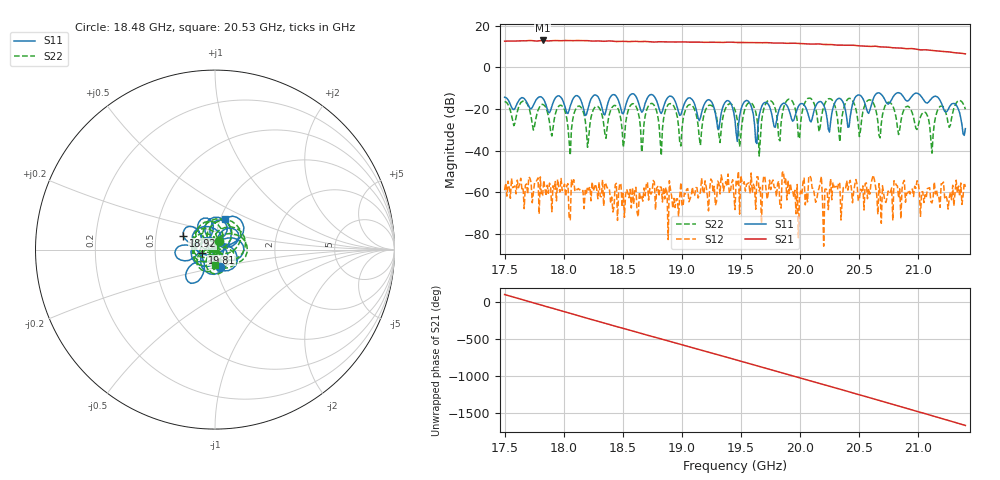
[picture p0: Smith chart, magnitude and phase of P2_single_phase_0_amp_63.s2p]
!Created with skrf (http://scikit-rf.org).
# GHz S RI R 50.0
!freq ReS11 ImS11 ReS21 ImS21 ReS12 ImS12 ReS22 ImS22
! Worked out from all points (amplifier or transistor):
!   401 points, 17.5 GHz to 21.4 GHz, reference 50 ohm
!   highest |S21| = 12.9 dB at 17.82 GHz (marker M1)
!   |S21| within 3 dB of that: start of sweep to 20.67 GHz
!   unconditionally stable (mu >= 1): start of sweep to end of sweep
!   at 18.14 GHz: K = 91.43, MAG = 13.0 dB, |S12| = -58.5 dB
!   at 19.45 GHz: K = 319.74, MAG = 12.1 dB, |S12| = -68.2 dB
!   at 21.4 GHz: K = 172.20, MAG = 6.6 dB, |S12| = -57.3 dB
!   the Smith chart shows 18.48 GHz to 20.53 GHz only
!   S11 on the Smith chart (normalised r, x): 18.48 GHz: 1.03, -0.20; 18.92 GHz: 0.69, +0.11; 19.81 GHz: 0.87, -0.03; 20.53 GHz: 1.06, +0.37
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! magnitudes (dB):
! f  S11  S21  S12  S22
! 17.5 GHz  -14.4  12.6  -59.0  -16.4
! 17.82 GHz  -14.7  12.9  -61.4  -17.7
! 18.06 GHz  -18.5  12.8  -73.1  -42.2
! 18.15 GHz  -16.9  12.8  -59.2  -19.7
! 18.48 GHz  -19.9  12.5  -56.2  -25.1
! 18.59 GHz  -12.7  12.5  -65.7  -17.5
! 18.67 GHz  -21.0  12.4  -64.2  -35.7
! 18.75 GHz  -13.1  12.2  -59.9  -17.3
! 18.81 GHz  -19.6  12.3  -61.9  -27.1
! 18.92 GHz  -14.4  12.2  -67.7  -17.9
! 18.99 GHz  -22.8  12.2  -55.2  -37.7
! 19.06 GHz  -14.6  12.1  -64.5  -18.0
! 19.16 GHz  -24.2  12.1  -59.9  -37.4
! 19.45 GHz  -25.4  12.0  -68.2  -20.5
! 19.65 GHz  -23.2  11.9  -59.3  -42.5
! 19.75 GHz  -20.5  11.8  -58.6  -16.0
! 19.81 GHz  -22.9  11.7  -55.8  -26.3
! 20.1 GHz  -24.7  11.2  -58.1  -15.6
! 20.53 GHz  -15.0  10.3  -56.9  -21.3
! 20.76 GHz  -17.2  9.6  -60.5  -16.7
! 21.12 GHz  -14.6  8.1  -65.0  -41.2
! 21.4 GHz  -29.4  6.5  -57.3  -20.1
